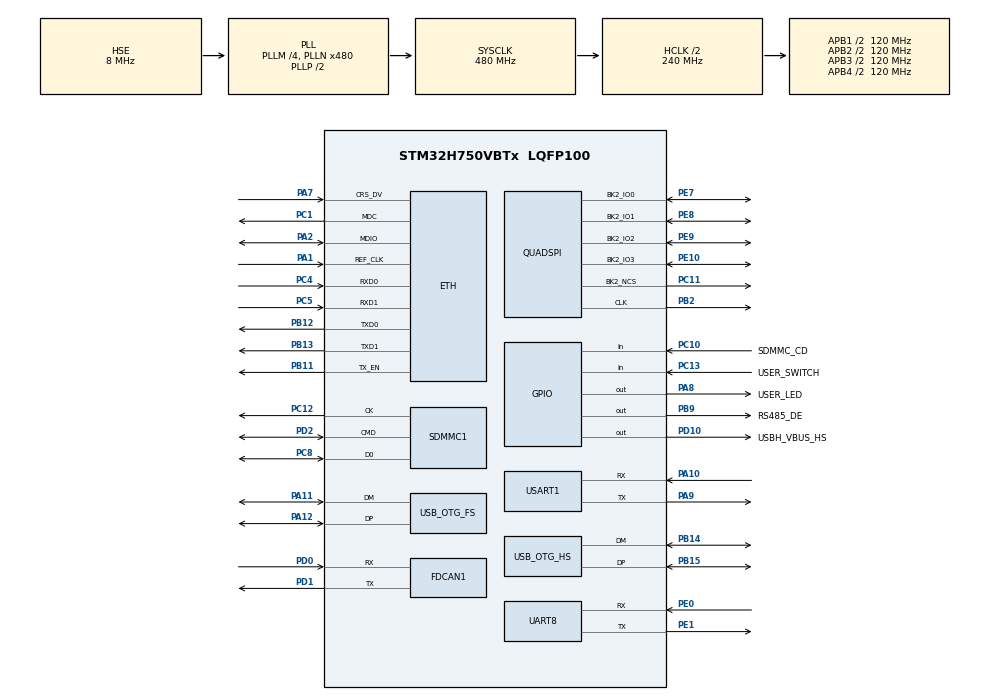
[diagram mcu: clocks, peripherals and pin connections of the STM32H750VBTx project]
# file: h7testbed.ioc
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CORTEX_M7.CPU_DCache=Enabled
CORTEX_M7.CPU_ICache=Enabled
ETH.MediaInterface=HAL_ETH_RMII_MODE
FATFS._USE_LFN=3
LWIP.Version=v2.0.3_Cube
Mcu.Family=STM32H7
Mcu.Name=STM32H750VBTx
Mcu.Package=LQFP100
NVIC.OTG_FS_IRQn=true\:0\:0\:false\:false\:true\:false\:true
NVIC.PriorityGroup=NVIC_PRIORITYGROUP_4
PA1.Mode=RMII
PA1.Signal=ETH_REF_CLK
PA10.Mode=Asynchronous
PA10.Signal=USART1_RX
PA11.Mode=Device_Only
PA11.Signal=USB_OTG_FS_DM
PA12.Mode=Device_Only
PA12.Signal=USB_OTG_FS_DP
PA2.Mode=RMII
PA2.Signal=ETH_MDIO
PA7.Mode=RMII
PA7.Signal=ETH_CRS_DV
PA8.GPIO_Label=USER_LED
PA8.Signal=GPIO_Output
PA9.Mode=Asynchronous
PA9.Signal=USART1_TX
PB11.Mode=RMII
PB11.Signal=ETH_TX_EN
PB12.Mode=RMII
PB12.Signal=ETH_TXD0
PB13.Mode=RMII
PB13.Signal=ETH_TXD1
PB14.Mode=Host_FS
PB14.Signal=USB_OTG_HS_DM
PB15.Mode=Host_FS
PB15.Signal=USB_OTG_HS_DP
PB2.GPIO_Speed=GPIO_SPEED_FREQ_VERY_HIGH
PB2.Mode=Single Bank 2
PB2.Signal=QUADSPI_CLK
PB9.GPIO_Label=RS485_DE
PB9.Signal=GPIO_Output
PC1.Mode=RMII
PC1.Signal=ETH_MDC
PC10.GPIO_Label=SDMMC_CD
PC10.Signal=GPIO_Input
PC11.GPIO_PuPd=GPIO_PULLUP
PC11.GPIO_Speed=GPIO_SPEED_FREQ_VERY_HIGH
PC11.Mode=Single Bank 2
PC11.Signal=QUADSPI_BK2_NCS
PC12.GPIO_PuPd=GPIO_PULLUP
PC12.Mode=SD_1_bit
PC12.Signal=SDMMC1_CK
PC13.GPIO_Label=USER_SWITCH
PC13.Signal=GPIO_Input
PC14-OSC32_IN\ (OSC32_IN).Mode=LSE-External-Oscillator
PC14-OSC32_IN\ (OSC32_IN).Signal=RCC_OSC32_IN
PC15-OSC32_OUT\ (OSC32_OUT).Mode=LSE-External-Oscillator
PC15-OSC32_OUT\ (OSC32_OUT).Signal=RCC_OSC32_OUT
PC4.Mode=RMII
PC4.Signal=ETH_RXD0
PC5.Mode=RMII
PC5.Signal=ETH_RXD1
PC8.GPIO_PuPd=GPIO_PULLUP
PC8.Mode=SD_1_bit
PC8.Signal=SDMMC1_D0
PD0.Mode=FDCANMaster
PD0.Signal=FDCAN1_RX
PD1.Mode=FDCANMaster
PD1.Signal=FDCAN1_TX
PD10.GPIO_Label=USBH_VBUS_HS
PD10.Signal=GPIO_Output
PD2.GPIO_PuPd=GPIO_PULLUP
PD2.Mode=SD_1_bit
PD2.Signal=SDMMC1_CMD
PE0.Mode=Asynchronous
PE0.Signal=UART8_RX
PE1.Mode=Asynchronous
PE1.Signal=UART8_TX
PE10.GPIO_Speed=GPIO_SPEED_FREQ_VERY_HIGH
PE10.Mode=Single Bank 2
PE10.Signal=QUADSPI_BK2_IO3
PE7.GPIO_Speed=GPIO_SPEED_FREQ_VERY_HIGH
PE7.Mode=Single Bank 2
PE7.Signal=QUADSPI_BK2_IO0
PE8.GPIO_Speed=GPIO_SPEED_FREQ_VERY_HIGH
PE8.Mode=Single Bank 2
PE8.Signal=QUADSPI_BK2_IO1
PE9.GPIO_Speed=GPIO_SPEED_FREQ_VERY_HIGH
PE9.Mode=Single Bank 2
PE9.Signal=QUADSPI_BK2_IO2
PH0-OSC_IN\ (PH0).Mode=HSE-External-Oscillator
PH0-OSC_IN\ (PH0).Signal=RCC_OSC_IN
PH1-OSC_OUT\ (PH1).Mode=HSE-External-Oscillator
PH1-OSC_OUT\ (PH1).Signal=RCC_OSC_OUT
ProjectManager.HeapSize=0x200
ProjectManager.StackSize=0x400
ProjectManager.TargetToolchain=Makefile
QUADSPI.ChipSelectHighTime=QSPI_CS_HIGH_TIME_3_CYCLE
QUADSPI.ClockPrescaler=0
QUADSPI.FlashSize=24
QUADSPI.SampleShifting=QSPI_SAMPLE_SHIFTING_NONE
RCC.ADCFreq_Value=110000000
RCC.APB1Freq_Value=120000000
RCC.APB2Freq_Value=120000000
RCC.APB3Freq_Value=120000000
RCC.APB4Freq_Value=120000000
RCC.CortexFreq_Value=480000000
RCC.D1PPRE=RCC_APB3_DIV2
RCC.D2PPRE1=RCC_APB1_DIV2
RCC.D2PPRE2=RCC_APB2_DIV2
RCC.D3PPRE=RCC_APB4_DIV2
RCC.DIVM1=4
RCC.DIVM2=4
RCC.DIVN1=480
RCC.DIVN2=110
RCC.DIVQ1=20
RCC.HCLKFreq_Value=240000000
RCC.HPRE=RCC_HCLK_DIV2
RCC.HSE_VALUE=8000000
RCC.PLLSourceVirtual=RCC_PLLSOURCE_HSE
RCC.QSPICLockSelection=RCC_QSPICLKSOURCE_PLL2
RCC.SYSCLKFreq_VALUE=480000000
RCC.SYSCLKSource=RCC_SYSCLKSOURCE_PLLCLK
RCC.USBFreq_Value=48000000
SDMMC1.HardwareFlowControl=SDMMC_HARDWARE_FLOW_CONTROL_DISABLE
SDMMC1.USE_SD_TRANSCEIVER=1U
USART1.VirtualMode-Asynchronous=VM_ASYNC
USB_DEVICE.CLASS_NAME_FS=CDC
USB_DEVICE.USBD_DEBUG_LEVEL-CDC_FS=0
USB_DEVICE.VirtualMode-CDC_FS=Cdc
USB_DEVICE.VirtualModeFS=Cdc_FS
USB_OTG_FS.VirtualMode=Device_Only
USB_OTG_HS.VirtualMode-Host_FS=Host_FS
VP_FATFS_VS_SDIO.Mode=SDIO
VP_LWIP_VS_Enabled.Mode=Enabled
VP_USB_DEVICE_VS_USB_DEVICE_CDC_FS.Mode=CDC_FS
board=custom

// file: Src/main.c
/* USER CODE BEGIN Header */
/**
 ******************************************************************************
 * @file           : main.c
 * @brief          : Main program body
 ******************************************************************************
 * @attention
 *
 * <h2><center>&copy; Copyright (c) 2019 STMicroelectronics.
 * All rights reserved.</center></h2>
 *
 * This software component is licensed by ST under Ultimate Liberty license
 * SLA0044, the "License"; You may not use this file except in compliance with
 * the License. You may obtain a copy of the License at:
 *                             www.st.com/SLA0044
 *
 ******************************************************************************
 */
/* USER CODE END Header */

#include "main.h"
#include "fatfs.h"
#include "lwip.h"
#include "usb_device.h"

/* USER CODE BEGIN Includes */
#include "memory.h"
#include <execute.h>
#include <inttypes.h>
#include <microrl.h>
/* USER CODE END Includes */

FDCAN_HandleTypeDef hfdcan1;

QSPI_HandleTypeDef hqspi;

SD_HandleTypeDef hsd1;

UART_HandleTypeDef huart8;
UART_HandleTypeDef huart1;

HCD_HandleTypeDef hhcd_USB_OTG_HS;

/* USER CODE BEGIN PV */
microrl_t mrl;

/* USER CODE END PV */

void SystemClock_Config(void);
static void MX_GPIO_Init(void);
void MX_QUADSPI_Init(void);
static void MX_SDMMC1_SD_Init(void);
static void MX_USART1_UART_Init(void);
static void MX_FDCAN1_Init(void);
static void MX_UART8_Init(void);

/* USER CODE BEGIN 0 */
void mrl_print(const char *str) { HAL_UART_Transmit(&huart1, (uint8_t *)str, strlen(str), HAL_MAX_DELAY); }

/* USER CODE END 0 */

int main(void)
{
    /* USER CODE BEGIN 1 */
    CoreDebug->DEMCR |= CoreDebug_DEMCR_TRCENA_Pos;
    DWT->CTRL |= DWT_CTRL_CYCCNTENA_Msk;
    /* USER CODE END 1 */

    /* Enable I-Cache---------------------------------------------------------*/
    SCB_EnableICache();

    /* Enable D-Cache---------------------------------------------------------*/
    SCB_EnableDCache();

    /* MCU Configuration--------------------------------------------------------*/

    /* Reset of all peripherals, Initializes the Flash interface and the Systick. */
    HAL_Init();

    /* Configure the system clock */
    SystemClock_Config();

    /* Initialize all configured peripherals */
    MX_GPIO_Init();
    MX_QUADSPI_Init();
    MX_SDMMC1_SD_Init();
    MX_USART1_UART_Init();
    MX_FATFS_Init();
    MX_USB_DEVICE_Init();
    MX_FDCAN1_Init();
    MX_UART8_Init();
    MX_LWIP_Init();
    /* USER CODE BEGIN 2 */

    printf("\e[96mWelcome...\e[39m\r\n");
    microrl_init(&mrl, mrl_print);
    microrl_set_execute_callback(&mrl, mrl_execute);
    /* USER CODE END 2 */

    /* Infinite loop */
    /* USER CODE BEGIN WHILE */
    while (1) {
        MX_LWIP_Process();
        /* USER CODE END WHILE */

        /* USER CODE BEGIN 3 */
        uint8_t ch;
        if (HAL_UART_Receive(&huart1, &ch, 1, 0) == HAL_OK) {
            microrl_insert_char(&mrl, ch);
        }
    }
    /* USER CODE END 3 */
}

void SystemClock_Config(void)
{
    RCC_OscInitTypeDef RCC_OscInitStruct = {0};
    RCC_ClkInitTypeDef RCC_ClkInitStruct = {0};
    RCC_PeriphCLKInitTypeDef PeriphClkInitStruct = {0};

    /** Supply configuration update enable
     */
    HAL_PWREx_ConfigSupply(PWR_LDO_SUPPLY);
    /** Configure the main internal regulator output voltage
     */
    __HAL_PWR_VOLTAGESCALING_CONFIG(PWR_REGULATOR_VOLTAGE_SCALE0);

    while (!__HAL_PWR_GET_FLAG(PWR_FLAG_VOSRDY)) {
    }
    /** Macro to configure the PLL clock source
     */
    __HAL_RCC_PLL_PLLSOURCE_CONFIG(RCC_PLLSOURCE_HSE);
    /** Initializes the CPU, AHB and APB busses clocks
     */
    RCC_OscInitStruct.OscillatorType = RCC_OSCILLATORTYPE_HSE;
    RCC_OscInitStruct.HSEState = RCC_HSE_ON;
    RCC_OscInitStruct.PLL.PLLState = RCC_PLL_ON;
    RCC_OscInitStruct.PLL.PLLSource = RCC_PLLSOURCE_HSE;
    RCC_OscInitStruct.PLL.PLLM = 4;
    RCC_OscInitStruct.PLL.PLLN = 480;
    RCC_OscInitStruct.PLL.PLLP = 2;
    RCC_OscInitStruct.PLL.PLLQ = 20;
    RCC_OscInitStruct.PLL.PLLR = 2;
    RCC_OscInitStruct.PLL.PLLRGE = RCC_PLL1VCIRANGE_1;
    RCC_OscInitStruct.PLL.PLLVCOSEL = RCC_PLL1VCOWIDE;
    RCC_OscInitStruct.PLL.PLLFRACN = 0;
    if (HAL_RCC_OscConfig(&RCC_OscInitStruct) != HAL_OK) {
        Error_Handler();
    }
    /** Initializes the CPU, AHB and APB busses clocks
     */
    RCC_ClkInitStruct.ClockType = RCC_CLOCKTYPE_HCLK | RCC_CLOCKTYPE_SYSCLK | RCC_CLOCKTYPE_PCLK1 |
                                  RCC_CLOCKTYPE_PCLK2 | RCC_CLOCKTYPE_D3PCLK1 | RCC_CLOCKTYPE_D1PCLK1;
    RCC_ClkInitStruct.SYSCLKSource = RCC_SYSCLKSOURCE_PLLCLK;
    RCC_ClkInitStruct.SYSCLKDivider = RCC_SYSCLK_DIV1;
    RCC_ClkInitStruct.AHBCLKDivider = RCC_HCLK_DIV2;
    RCC_ClkInitStruct.APB3CLKDivider = RCC_APB3_DIV2;
    RCC_ClkInitStruct.APB1CLKDivider = RCC_APB1_DIV2;
    RCC_ClkInitStruct.APB2CLKDivider = RCC_APB2_DIV2;
    RCC_ClkInitStruct.APB4CLKDivider = RCC_APB4_DIV2;

    if (HAL_RCC_ClockConfig(&RCC_ClkInitStruct, FLASH_LATENCY_4) != HAL_OK) {
        Error_Handler();
    }
    PeriphClkInitStruct.PeriphClockSelection = RCC_PERIPHCLK_FDCAN | RCC_PERIPHCLK_USART1 | RCC_PERIPHCLK_UART8 |
                                               RCC_PERIPHCLK_SDMMC | RCC_PERIPHCLK_USB | RCC_PERIPHCLK_QSPI;
    PeriphClkInitStruct.PLL2.PLL2M = 4;
    PeriphClkInitStruct.PLL2.PLL2N = 110;
    PeriphClkInitStruct.PLL2.PLL2P = 2;
    PeriphClkInitStruct.PLL2.PLL2Q = 2;
    PeriphClkInitStruct.PLL2.PLL2R = 2;
    PeriphClkInitStruct.PLL2.PLL2RGE = RCC_PLL2VCIRANGE_1;
    PeriphClkInitStruct.PLL2.PLL2VCOSEL = RCC_PLL2VCOWIDE;
    PeriphClkInitStruct.PLL2.PLL2FRACN = 0;
    PeriphClkInitStruct.QspiClockSelection = RCC_QSPICLKSOURCE_PLL2;
    PeriphClkInitStruct.SdmmcClockSelection = RCC_SDMMCCLKSOURCE_PLL;
    PeriphClkInitStruct.FdcanClockSelection = RCC_FDCANCLKSOURCE_PLL;
    PeriphClkInitStruct.Usart234578ClockSelection = RCC_USART234578CLKSOURCE_D2PCLK1;
    PeriphClkInitStruct.Usart16ClockSelection = RCC_USART16CLKSOURCE_D2PCLK2;
    PeriphClkInitStruct.UsbClockSelection = RCC_USBCLKSOURCE_PLL;
    if (HAL_RCCEx_PeriphCLKConfig(&PeriphClkInitStruct) != HAL_OK) {
        Error_Handler();
    }
    /** Enable USB Voltage detector
     */
    HAL_PWREx_EnableUSBVoltageDetector();
}

static void MX_FDCAN1_Init(void)
{

    hfdcan1.Instance = FDCAN1;
    hfdcan1.Init.FrameFormat = FDCAN_FRAME_CLASSIC;
    hfdcan1.Init.Mode = FDCAN_MODE_NORMAL;
    hfdcan1.Init.AutoRetransmission = DISABLE;
    hfdcan1.Init.TransmitPause = DISABLE;
    hfdcan1.Init.ProtocolException = DISABLE;
    hfdcan1.Init.NominalPrescaler = 1;
    hfdcan1.Init.NominalSyncJumpWidth = 1;
    hfdcan1.Init.NominalTimeSeg1 = 2;
    hfdcan1.Init.NominalTimeSeg2 = 2;
    hfdcan1.Init.DataPrescaler = 1;
    hfdcan1.Init.DataSyncJumpWidth = 1;
    hfdcan1.Init.DataTimeSeg1 = 1;
    hfdcan1.Init.DataTimeSeg2 = 1;
    hfdcan1.Init.MessageRAMOffset = 0;
    hfdcan1.Init.StdFiltersNbr = 0;
    hfdcan1.Init.ExtFiltersNbr = 0;
    hfdcan1.Init.RxFifo0ElmtsNbr = 0;
    hfdcan1.Init.RxFifo0ElmtSize = FDCAN_DATA_BYTES_8;
    hfdcan1.Init.RxFifo1ElmtsNbr = 0;
    hfdcan1.Init.RxFifo1ElmtSize = FDCAN_DATA_BYTES_8;
    hfdcan1.Init.RxBuffersNbr = 0;
    hfdcan1.Init.RxBufferSize = FDCAN_DATA_BYTES_8;
    hfdcan1.Init.TxEventsNbr = 0;
    hfdcan1.Init.TxBuffersNbr = 0;
    hfdcan1.Init.TxFifoQueueElmtsNbr = 0;
    hfdcan1.Init.TxFifoQueueMode = FDCAN_TX_FIFO_OPERATION;
    hfdcan1.Init.TxElmtSize = FDCAN_DATA_BYTES_8;
    if (HAL_FDCAN_Init(&hfdcan1) != HAL_OK) {
        Error_Handler();
    }
}

void MX_QUADSPI_Init(void)
{

    /* QUADSPI parameter configuration*/
    hqspi.Instance = QUADSPI;
    hqspi.Init.ClockPrescaler = 0;
    hqspi.Init.FifoThreshold = 1;
    hqspi.Init.SampleShifting = QSPI_SAMPLE_SHIFTING_NONE;
    hqspi.Init.FlashSize = 24;
    hqspi.Init.ChipSelectHighTime = QSPI_CS_HIGH_TIME_3_CYCLE;
    hqspi.Init.ClockMode = QSPI_CLOCK_MODE_0;
    hqspi.Init.FlashID = QSPI_FLASH_ID_2;
    hqspi.Init.DualFlash = QSPI_DUALFLASH_DISABLE;
    if (HAL_QSPI_Init(&hqspi) != HAL_OK) {
        Error_Handler();
    }
}

static void MX_SDMMC1_SD_Init(void)
{

    hsd1.Instance = SDMMC1;
    hsd1.Init.ClockEdge = SDMMC_CLOCK_EDGE_RISING;
    hsd1.Init.ClockPowerSave = SDMMC_CLOCK_POWER_SAVE_DISABLE;
    hsd1.Init.BusWide = SDMMC_BUS_WIDE_1B;
    hsd1.Init.HardwareFlowControl = SDMMC_HARDWARE_FLOW_CONTROL_DISABLE;
    hsd1.Init.ClockDiv = 0;
}

static void MX_UART8_Init(void)
{

    huart8.Instance = UART8;
    huart8.Init.BaudRate = 115200;
    huart8.Init.WordLength = UART_WORDLENGTH_8B;
    huart8.Init.StopBits = UART_STOPBITS_1;
    huart8.Init.Parity = UART_PARITY_NONE;
    huart8.Init.Mode = UART_MODE_TX_RX;
    huart8.Init.HwFlowCtl = UART_HWCONTROL_NONE;
    huart8.Init.OverSampling = UART_OVERSAMPLING_16;
    huart8.Init.OneBitSampling = UART_ONE_BIT_SAMPLE_DISABLE;
    huart8.Init.ClockPrescaler = UART_PRESCALER_DIV1;
    huart8.AdvancedInit.AdvFeatureInit = UART_ADVFEATURE_NO_INIT;
    if (HAL_UART_Init(&huart8) != HAL_OK) {
        Error_Handler();
    }
    if (HAL_UARTEx_SetTxFifoThreshold(&huart8, UART_TXFIFO_THRESHOLD_1_8) != HAL_OK) {
        Error_Handler();
    }
    if (HAL_UARTEx_SetRxFifoThreshold(&huart8, UART_RXFIFO_THRESHOLD_1_8) != HAL_OK) {
        Error_Handler();
    }
    if (HAL_UARTEx_DisableFifoMode(&huart8) != HAL_OK) {
        Error_Handler();
    }
}

static void MX_USART1_UART_Init(void)
{

    huart1.Instance = USART1;
    huart1.Init.BaudRate = 115200;
    huart1.Init.WordLength = UART_WORDLENGTH_8B;
    huart1.Init.StopBits = UART_STOPBITS_1;
    huart1.Init.Parity = UART_PARITY_NONE;
    huart1.Init.Mode = UART_MODE_TX_RX;
    huart1.Init.HwFlowCtl = UART_HWCONTROL_NONE;
    huart1.Init.OverSampling = UART_OVERSAMPLING_16;
    huart1.Init.OneBitSampling = UART_ONE_BIT_SAMPLE_DISABLE;
    huart1.Init.ClockPrescaler = UART_PRESCALER_DIV1;
    huart1.AdvancedInit.AdvFeatureInit = UART_ADVFEATURE_NO_INIT;
    if (HAL_UART_Init(&huart1) != HAL_OK) {
        Error_Handler();
    }
    if (HAL_UARTEx_SetTxFifoThreshold(&huart1, UART_TXFIFO_THRESHOLD_1_8) != HAL_OK) {
        Error_Handler();
    }
    if (HAL_UARTEx_SetRxFifoThreshold(&huart1, UART_RXFIFO_THRESHOLD_1_8) != HAL_OK) {
        Error_Handler();
    }
    if (HAL_UARTEx_DisableFifoMode(&huart1) != HAL_OK) {
        Error_Handler();
    }
}

void MX_USB_OTG_HS_HCD_Init(void)
{

    hhcd_USB_OTG_HS.Instance = USB_OTG_HS;
    hhcd_USB_OTG_HS.Init.Host_channels = 16;
    hhcd_USB_OTG_HS.Init.speed = HCD_SPEED_FULL;
    hhcd_USB_OTG_HS.Init.dma_enable = DISABLE;
    hhcd_USB_OTG_HS.Init.phy_itface = USB_OTG_EMBEDDED_PHY;
    hhcd_USB_OTG_HS.Init.Sof_enable = DISABLE;
    hhcd_USB_OTG_HS.Init.low_power_enable = DISABLE;
    hhcd_USB_OTG_HS.Init.use_external_vbus = DISABLE;
    if (HAL_HCD_Init(&hhcd_USB_OTG_HS) != HAL_OK) {
        Error_Handler();
    }
}

static void MX_GPIO_Init(void)
{
    GPIO_InitTypeDef GPIO_InitStruct = {0};

    /* GPIO Ports Clock Enable */
    __HAL_RCC_GPIOC_CLK_ENABLE();
    __HAL_RCC_GPIOH_CLK_ENABLE();
    __HAL_RCC_GPIOA_CLK_ENABLE();
    __HAL_RCC_GPIOB_CLK_ENABLE();
    __HAL_RCC_GPIOE_CLK_ENABLE();
    __HAL_RCC_GPIOD_CLK_ENABLE();

    /*Configure GPIO pin Output Level */
    HAL_GPIO_WritePin(USBH_VBUS_HS_GPIO_Port, USBH_VBUS_HS_Pin, GPIO_PIN_RESET);

    /*Configure GPIO pin Output Level */
    HAL_GPIO_WritePin(USER_LED_GPIO_Port, USER_LED_Pin, GPIO_PIN_RESET);

    /*Configure GPIO pin Output Level */
    HAL_GPIO_WritePin(RS485_DE_GPIO_Port, RS485_DE_Pin, GPIO_PIN_RESET);

    /*Configure GPIO pins : USER_SWITCH_Pin SDMMC_CD_Pin */
    GPIO_InitStruct.Pin = USER_SWITCH_Pin | SDMMC_CD_Pin;
    GPIO_InitStruct.Mode = GPIO_MODE_INPUT;
    GPIO_InitStruct.Pull = GPIO_NOPULL;
    HAL_GPIO_Init(GPIOC, &GPIO_InitStruct);

    /*Configure GPIO pin : USBH_VBUS_HS_Pin */
    GPIO_InitStruct.Pin = USBH_VBUS_HS_Pin;
    GPIO_InitStruct.Mode = GPIO_MODE_OUTPUT_PP;
    GPIO_InitStruct.Pull = GPIO_NOPULL;
    GPIO_InitStruct.Speed = GPIO_SPEED_FREQ_LOW;
    HAL_GPIO_Init(USBH_VBUS_HS_GPIO_Port, &GPIO_InitStruct);

    /*Configure GPIO pin : USER_LED_Pin */
    GPIO_InitStruct.Pin = USER_LED_Pin;
    GPIO_InitStruct.Mode = GPIO_MODE_OUTPUT_PP;
    GPIO_InitStruct.Pull = GPIO_NOPULL;
    GPIO_InitStruct.Speed = GPIO_SPEED_FREQ_LOW;
    HAL_GPIO_Init(USER_LED_GPIO_Port, &GPIO_InitStruct);

    /*Configure GPIO pin : RS485_DE_Pin */
    GPIO_InitStruct.Pin = RS485_DE_Pin;
    GPIO_InitStruct.Mode = GPIO_MODE_OUTPUT_PP;
    GPIO_InitStruct.Pull = GPIO_NOPULL;
    GPIO_InitStruct.Speed = GPIO_SPEED_FREQ_LOW;
    HAL_GPIO_Init(RS485_DE_GPIO_Port, &GPIO_InitStruct);
}

/* USER CODE BEGIN 4 */
void __stdio_putchar(int c) { HAL_UART_Transmit(&huart1, (uint8_t *)&c, 1, HAL_MAX_DELAY); }

/* USER CODE END 4 */

void Error_Handler(void)
{
}

/************************ (C) COPYRIGHT STMicroelectronics *****END OF FILE****/
